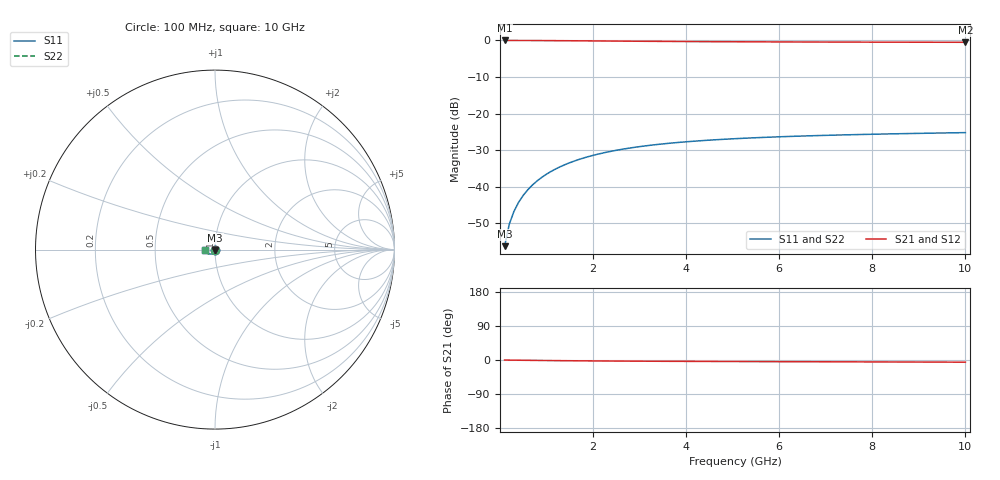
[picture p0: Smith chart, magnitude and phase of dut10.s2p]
! Touchstone file exported from HFSS 2024.1.0
!  File:  C:/UserFiles/LocalFiles/RDL_TSV_Batchsim/temp_TSV1_10_1778746483.aedt
!  Generated:  04:19:16 PM May 14, 2026
!  Design:  TSV1
!  Project:  temp_TSV1_10_1778746483
!  Setup:  Setup1
!  Solution:  Sweep
! Variables:
!  dtsv = 11.16um
!  hbump = 3um
!  htsv = 90.29um
!  lrdl = 252.1521522um
!  p = 40
!  p1 = 51.15um
!  t = 500um
!  trdl = 3um
!  wrdl = 24.89489489um
# GHz S MA R 50.000000
! Terminal data exported
! Port[1] = TSV22_T1
! Port[2] = TSV22_T2
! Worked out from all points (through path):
!   100 points, 100 MHz to 10 GHz, reference 50 ohm
!   highest |S21| = 0.00 dB at 100 MHz (marker M1); lowest = -0.5 dB at 10 GHz (marker M2)
!   lowest |S11| = -56.3 dB at 100 MHz (marker M3), VSWR 1.00, Z = 50 - j0.153 ohm
!   |S11| at or under -10 dB: start of sweep to end of sweep
!   |S22| runs from -56.3 to -25.2 dB; largest |S21 - S12| = 4.8e-15
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0.1  0.001527 -87.1  0.9998 -0.1  0.9998 -0.1  0.001527 -87.1
! Gamma 0 0 0 0
! Port Impedance 50 0 50 0
0.2  0.003047 -91.1  0.9997 -0.3  0.9997 -0.3  0.003047 -91.1
0.3  0.004566 -93.6  0.9994 -0.4  0.9994 -0.4  0.004566 -93.6
0.4  0.006078 -95.7  0.9991 -0.6  0.9991 -0.6  0.006078 -95.7
0.5  0.007579 -97.7  0.9986 -0.7  0.9986 -0.7  0.007579 -97.7
0.6  0.009064 -99.6  0.9981 -0.8  0.9981 -0.8  0.009064 -99.6
0.7  0.01053 -101.5  0.9975 -1.0  0.9975 -1.0  0.01053 -101.5
0.8  0.01197 -103.3  0.9969 -1.1  0.9969 -1.1  0.01197 -103.3
0.9  0.01338 -105.1  0.9961 -1.2  0.9961 -1.2  0.01338 -105.1
1.1  0.01612 -108.6  0.9945 -1.5  0.9945 -1.5  0.01612 -108.6
1.4  0.01998 -113.5  0.9917 -1.8  0.9917 -1.8  0.01998 -113.5
1.6  0.02238 -116.7  0.9897 -2.0  0.9897 -2.0  0.02238 -116.7
1.8  0.02463 -119.7  0.9876 -2.2  0.9876 -2.2  0.02463 -119.7
2.1  0.02772 -123.9  0.9844 -2.5  0.9844 -2.5  0.02772 -123.9
2.5  0.03136 -129.1  0.9801 -2.8  0.9801 -2.8  0.03136 -129.1
2.9  0.03448 -133.8  0.9761 -3.1  0.9761 -3.1  0.03448 -133.8
3.4  0.03778 -139.1  0.9714 -3.3  0.9714 -3.3  0.03778 -139.1
4.2  0.04191 -146.4  0.9651 -3.7  0.9651 -3.7  0.04191 -146.4
5.1  0.04537 -153.2  0.9594 -4.0  0.9594 -4.0  0.04537 -153.2
6.7  0.04961 -162.9  0.9521 -4.6  0.9521 -4.6  0.04961 -162.9
8.4  0.05262 -171.0  0.9471 -5.2  0.9471 -5.2  0.05262 -171.0
10  0.05472 -177.3  0.9438 -5.7  0.9438 -5.7  0.05472 -177.3
